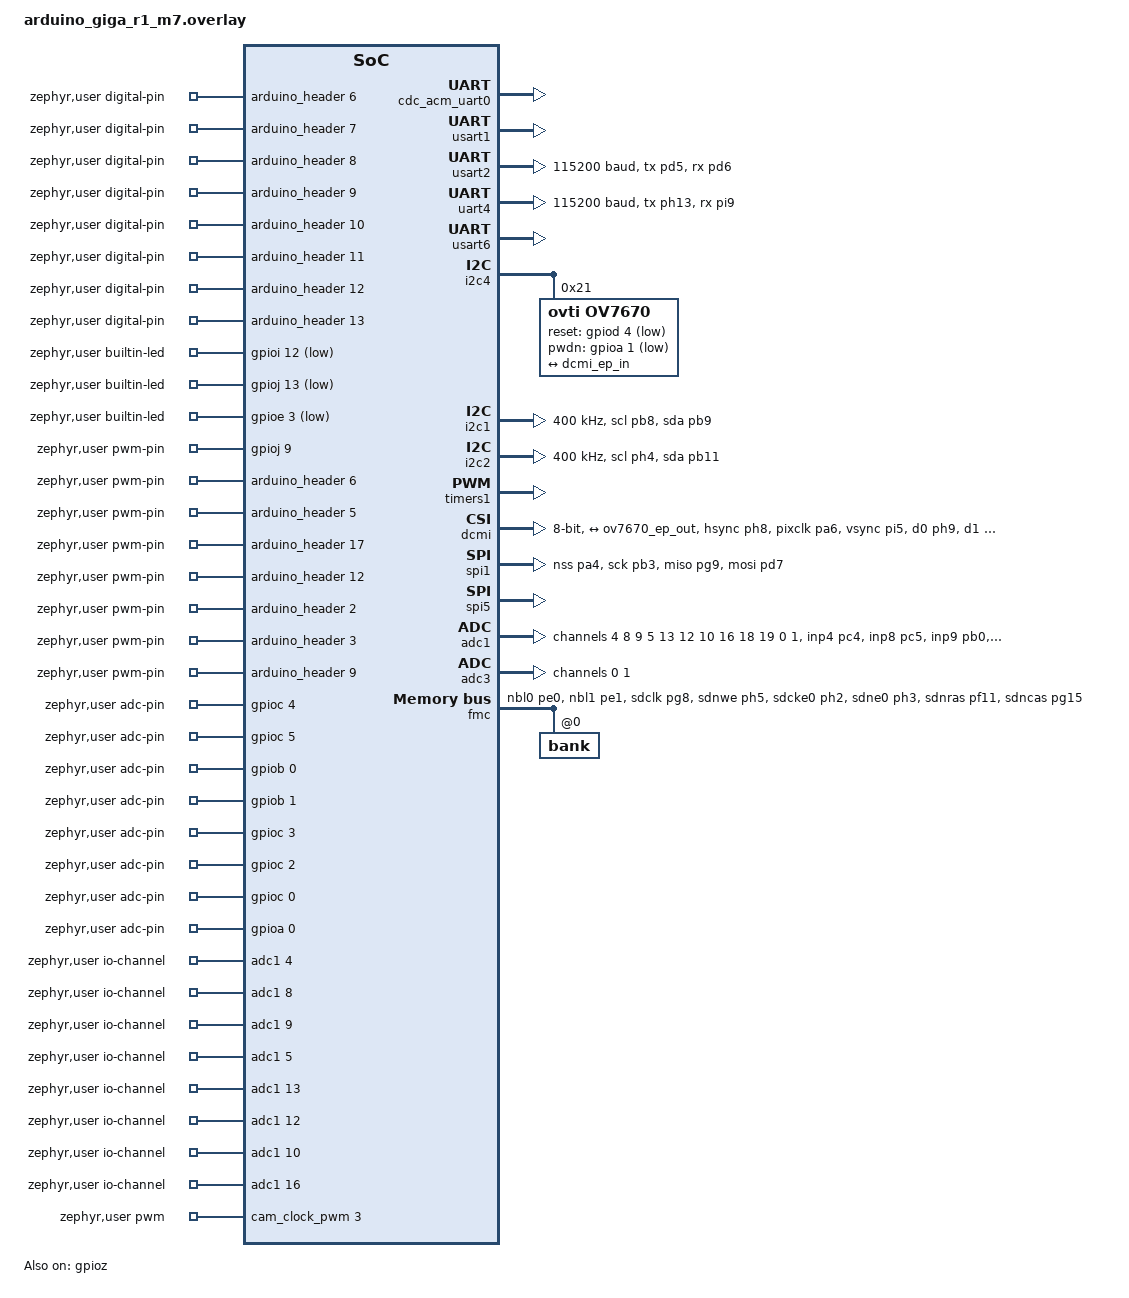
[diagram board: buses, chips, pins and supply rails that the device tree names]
&zephyr_udc0 {
	cdc_acm_uart0: cdc_acm_uart0 {
		compatible = "zephyr,cdc-acm-uart";
		status = "okay";
	};
};

&usart1 {
	status = "okay";
};

&usart2 {
	status = "okay";
	pinctrl-0 = <&usart2_tx_pd5 &usart2_rx_pd6>;
	pinctrl-names = "default";
	current-speed = <115200>;
};

&uart4 {
	status = "okay";
	pinctrl-0 = <&uart4_tx_ph13 &uart4_rx_pi9>;
	pinctrl-names = "default";
	current-speed = <115200>;
};

&usart6 {
	status = "okay";
};


&i2c4 {
	status = "okay";
	ov7670: ov7670@21 {
		compatible = "ovti,ov7670";
		reg = <0x21>;
		reset-gpios = <&gpiod 4 GPIO_ACTIVE_LOW>;
		pwdn-gpios = <&gpioa 1 GPIO_ACTIVE_LOW>;

		port {
			ov7670_ep_out: endpoint {
				remote-endpoint = <&dcmi_ep_in>;
			};
		};
	};
};

&i2c1 {
	status = "okay";
	pinctrl-0 = <&i2c1_scl_pb8 &i2c1_sda_pb9>;
	pinctrl-names = "default";
	clock-frequency = <I2C_BITRATE_FAST>;
};

&i2c2 {
	status = "okay";
	pinctrl-0 = <&i2c2_scl_ph4 &i2c2_sda_pb11>;
	pinctrl-names = "default";
	clock-frequency = <I2C_BITRATE_FAST>;
};

// XCLK as PWM from PJ9
&timers1 {
	status = "okay";
	st,prescaler = <0>;

	cam_clock_pwm: pwm {
		status = "okay";
		pinctrl-0 = <&tim1_ch3_pj9>;
		pinctrl-names = "default";
	};
};

&cam_clock_pwm {
	/* ...then use the pwmclock node to start the clock generation */
	pwmclock: pwmclock {
		status = "okay";
		compatible = "pwm-clock";
		clock-frequency = <0>;
		#clock-cells = <1>;
		pwms = <&cam_clock_pwm 3 PWM_HZ(6000000) PWM_POLARITY_NORMAL>;
	};
};

&dmamux1 {
	status = "okay";
};

&dma1 {
	status = "okay";
};

&dcmi {
	status = "okay";
	sensor = <&ov7670>;
	/* ext-sdram = <&sdram1>; */
	pinctrl-0 = <&dcmi_hsync_ph8 &dcmi_pixclk_pa6 &dcmi_vsync_pi5
				&dcmi_d0_ph9 &dcmi_d1_ph10 &dcmi_d2_ph11 &dcmi_d3_pg11
				&dcmi_d4_ph14 &dcmi_d5_pi4 &dcmi_d6_pi6 &dcmi_d7_pi7>;
	pinctrl-names = "default";
	bus-width = <8>;
	hsync-active = <0>;
	vsync-active = <0>;
	pixelclk-active = <0>;
	capture-rate = <1>;
	dmas = <&dma1 0 75 (STM32_DMA_PERIPH_TO_MEMORY | STM32_DMA_PERIPH_NO_INC |
			STM32_DMA_MEM_INC | STM32_DMA_PERIPH_8BITS | STM32_DMA_MEM_32BITS |
			STM32_DMA_PRIORITY_HIGH) STM32_DMA_FIFO_1_4>;

	port {
		dcmi_ep_in: endpoint {
			remote-endpoint = <&ov7670_ep_out>;
		};
	};
};

&spi1 {
	status = "okay";
	pinctrl-0 = <&spi1_nss_pa4 &spi1_sck_pb3
		     &spi1_miso_pg9 &spi1_mosi_pd7>;
	pinctrl-names = "default";
};

&spi5 {
	status = "okay";
};

&adc1 {
	pinctrl-0 = <&adc1_inp4_pc4
		&adc1_inp8_pc5
		&adc1_inp9_pb0
		&adc1_inp5_pb1
		&adc1_inp13_pc3
		&adc1_inp12_pc2
		&adc1_inp10_pc0
		&adc1_inp16_pa0
		&adc1_inp18_pa4
		&adc1_inp19_pa5
		&adc1_inp0_pa0_c
		&adc1_inp1_pa1_c>;
	pinctrl-names = "default";
	st,adc-clock-source = <SYNC>;
	st,adc-prescaler = <4>;
	status = "okay";

	#address-cells = <1>;
	#size-cells = <0>;

	channel@4 {
		reg = <4>;
		zephyr,gain = "ADC_GAIN_1";
		zephyr,reference = "ADC_REF_INTERNAL";
		zephyr,acquisition-time = <ADC_ACQ_TIME_MAX>;
		zephyr,resolution = <12>;
	};
	channel@8 {
		reg = <8>;
		zephyr,gain = "ADC_GAIN_1";
		zephyr,reference = "ADC_REF_INTERNAL";
		zephyr,acquisition-time = <ADC_ACQ_TIME_MAX>;
		zephyr,resolution = <12>;
	};
	channel@9 {
		reg = <9>;
		zephyr,gain = "ADC_GAIN_1";
		zephyr,reference = "ADC_REF_INTERNAL";
		zephyr,acquisition-time = <ADC_ACQ_TIME_MAX>;
		zephyr,resolution = <12>;
	};
	channel@5 {
		reg = <5>;
		zephyr,gain = "ADC_GAIN_1";
		zephyr,reference = "ADC_REF_INTERNAL";
		zephyr,acquisition-time = <ADC_ACQ_TIME_MAX>;
		zephyr,resolution = <12>;
	};
	channel@d {
		reg = <13>;
		zephyr,gain = "ADC_GAIN_1";
		zephyr,reference = "ADC_REF_INTERNAL";
		zephyr,acquisition-time = <ADC_ACQ_TIME_MAX>;
		zephyr,resolution = <12>;
	};
	channel@c {
		reg = <12>;
		zephyr,gain = "ADC_GAIN_1";
		zephyr,reference = "ADC_REF_INTERNAL";
		zephyr,acquisition-time = <ADC_ACQ_TIME_MAX>;
		zephyr,resolution = <12>;
	};
	channel@a {
		reg = <10>;
		zephyr,gain = "ADC_GAIN_1";
		zephyr,reference = "ADC_REF_INTERNAL";
		zephyr,acquisition-time = <ADC_ACQ_TIME_MAX>;
		zephyr,resolution = <12>;
	};
	channel@10 {
		reg = <16>;
		zephyr,gain = "ADC_GAIN_1";
		zephyr,reference = "ADC_REF_INTERNAL";
		zephyr,acquisition-time = <ADC_ACQ_TIME_MAX>;
		zephyr,resolution = <12>;
	};
	channel@12 {
		reg = <18>;
		zephyr,gain = "ADC_GAIN_1";
		zephyr,reference = "ADC_REF_INTERNAL";
		zephyr,acquisition-time = <ADC_ACQ_TIME_MAX>;
		zephyr,resolution = <12>;
	};
	channel@13 {
		reg = <19>;
		zephyr,gain = "ADC_GAIN_1";
		zephyr,reference = "ADC_REF_INTERNAL";
		zephyr,acquisition-time = <ADC_ACQ_TIME_MAX>;
		zephyr,resolution = <12>;
	};
	/* PA0_C and PA1_C */
	channel@0 {
		reg = <0>;
		zephyr,gain = "ADC_GAIN_1";
		zephyr,reference = "ADC_REF_INTERNAL";
		zephyr,acquisition-time = <ADC_ACQ_TIME_MAX>;
		zephyr,resolution = <12>;
	};
	channel@1 {
		reg = <1>;
		zephyr,gain = "ADC_GAIN_1";
		zephyr,reference = "ADC_REF_INTERNAL";
		zephyr,acquisition-time = <ADC_ACQ_TIME_MAX>;
		zephyr,resolution = <12>;
	};
};

&adc3 {
	pinctrl-0 = <&adc3_inp0_pc2_c
		&adc3_inp1_pc3_c>;
	pinctrl-names = "default";
	st,adc-clock-source = <SYNC>;
	st,adc-prescaler = <4>;
	status = "okay";

	#address-cells = <1>;
	#size-cells = <0>;

	channel@0 {
		reg = <0>;
		zephyr,gain = "ADC_GAIN_1";
		zephyr,reference = "ADC_REF_INTERNAL";
		zephyr,acquisition-time = <ADC_ACQ_TIME_MAX>;
		zephyr,resolution = <12>;
	};
	channel@1 {
		reg = <1>;
		zephyr,gain = "ADC_GAIN_1";
		zephyr,reference = "ADC_REF_INTERNAL";
		zephyr,acquisition-time = <ADC_ACQ_TIME_MAX>;
		zephyr,resolution = <12>;
	};
};


&fmc {
	status = "okay";
	pinctrl-0 = <&fmc_nbl0_pe0 &fmc_nbl1_pe1
		     &fmc_sdclk_pg8 &fmc_sdnwe_ph5 &fmc_sdcke0_ph2
		     &fmc_sdne0_ph3 &fmc_sdnras_pf11 &fmc_sdncas_pg15

		     &fmc_a0_pf0 &fmc_a1_pf1 &fmc_a2_pf2 &fmc_a3_pf3 &fmc_a4_pf4
		     &fmc_a5_pf5 &fmc_a6_pf12 &fmc_a7_pf13 &fmc_a8_pf14
		     &fmc_a9_pf15 &fmc_a10_pg0 &fmc_a11_pg1 &fmc_a12_pg2
		     &fmc_a14_pg4 &fmc_a15_pg5

		     &fmc_d0_pd14 &fmc_d1_pd15 &fmc_d2_pd0 &fmc_d3_pd1
		     &fmc_d4_pe7 &fmc_d5_pe8 &fmc_d6_pe9 &fmc_d7_pe10
		     &fmc_d8_pe11 &fmc_d9_pe12 &fmc_d10_pe13 &fmc_d11_pe14
		     &fmc_d12_pe15 &fmc_d13_pd8 &fmc_d14_pd9 &fmc_d15_pd10>;
	pinctrl-names = "default";

	sdram {
		status = "okay";

		power-up-delay = <100>;
		num-auto-refresh = <8>;
		mode-register = <0x220>;
		refresh-rate = <603>;

		bank@0 {
			reg = <0>;
			st,sdram-control = <STM32_FMC_SDRAM_NC_8
					    STM32_FMC_SDRAM_NR_12
					    STM32_FMC_SDRAM_MWID_16
					    STM32_FMC_SDRAM_NB_4
					    STM32_FMC_SDRAM_CAS_2
					    STM32_FMC_SDRAM_SDCLK_PERIOD_2
					    STM32_FMC_SDRAM_RBURST_ENABLE
					    STM32_FMC_SDRAM_RPIPE_0>;
			st,sdram-timing = <2 6 4 6 2 2 2>;
		};
	};
};

/{
	chosen {
		zephyr,camera = &dcmi;
	};

	/* used to overcome problems with _C analog pins */
	gpioz: gpio@deadbeef {
		compatible = "vnd,gpio";
		gpio-controller;
		reg = <0xdeadbeef 0x1000>;
		#gpio-cells = <0x2>;
		status = "okay";
	};
};

/ {
	soc {
		flash-controller@52002000 {
			flash0: flash@8000000 {
				compatible = "st,stm32-nv-flash", "soc-nv-flash";
				write-block-size = <32>;
				erase-block-size = <DT_SIZE_K(128)>;
				/* maximum erase time for a 128K sector */
				max-erase-time = <4000>;

				reg = <0x08000000 DT_SIZE_K(1024)>;
				status = "okay";

				partitions {
					compatible = "fixed-partitions";
					#address-cells = <1>;
					#size-cells = <1>;

					user_sketch: partition@e0000 {
						reg = <0x0E0000 0x20000>;
					};
				};
			};
		};
	};
};

/ {
	zephyr,user {
		digital-pin-gpios = <&arduino_header 6 0>,
						<&arduino_header 7 0>,
						<&arduino_header 8 0>,
						<&arduino_header 9 0>,
						<&arduino_header 10 0>,
						<&arduino_header 11 0>,
						<&arduino_header 12 0>,
						<&arduino_header 13 0>,
						<&arduino_header 14 0>,
						<&arduino_header 15 0>,
						<&arduino_header 16 0>,
						<&arduino_header 17 0>,
						<&arduino_header 18 0>,
						<&arduino_header 19 0>,
						<&gpiog 14 0>,				/* TX1 - 14 */
						<&gpioc 7 0>,
						<&gpioh 13 0>,
						<&gpioi 9 0>,
						<&gpiod 5 0>,
						<&gpiod 6 0>,
						<&gpiob 11 0>,
						<&gpioh 4 0>,

						<&gpioj 12 0>,				/* Big header - 22 */
						<&gpiog 13 0>,
						<&gpiog 12 0>,
						<&gpioj 0 0>,
						<&gpioj 14 0>,
						<&gpioj 1 0>,
						<&gpioj 15 0>,
						<&gpioj 2 0>,
						<&gpiok 3 0>,
						<&gpioj 3 0>,
						<&gpiok 4 0>,
						<&gpioj 4 0>,
						<&gpiok 5 0>,
						<&gpioj 5 0>,
						<&gpiok 6 0>,
						<&gpioj 6 0>,
						<&gpioj 7 0>,
						<&gpioi 14 0>,
						<&gpioe 6 0>,
						<&gpiok 7 0>,
						<&gpioi 15 0>,
						<&gpioi 10 0>,
						<&gpiog 10 0>,
						<&gpioi 13 0>,
						<&gpioh 15 0>,
						<&gpiob 2 0>,
						<&gpiok 0 0>,
						<&gpioe 4 0>,
						<&gpioi 11 0>,
						<&gpioe 5 0>,
						<&gpiok 2 0>,
						<&gpiog 7 0>,

						<&gpioi 5 0>,		/* CAM header - 54 */
						<&gpioh 8 0>,
						<&gpioa 6 0>,
						<&gpioj 9 0>,
						<&gpioi 7 0>,
						<&gpioi 6 0>,
						<&gpioi 4 0>,
						<&gpioh 14 0>,
						<&gpiog 11 0>,
						<&gpioh 11 0>,
						<&gpioh 10 0>,
						<&gpioh 9 0>,
						<&gpioa 1 0>,
						<&gpiod 4 0>,

						<&gpioc 6 0>,		/* DSI header - 68 */
						<&gpioi 0 0>,
						<&gpioi 1 0>,
						<&gpioi 2 0>,
						<&gpioi 3 0>,
						<&gpioc 1 0>,
						<&gpiob 12 0>,
						<&gpiod 3 0>,

						<&gpiob 6 0>,		/* SDA1 */
						<&gpioh 12 0>,

						<&gpioc 4 0>,
						<&gpioc 5 0>,
						<&gpiob 0 0>,
						<&gpiob 1 0>,
						<&gpioc 3 0>,
						<&gpioc 2 0>,
						<&gpioc 0 0>,			/* A6 */
						<&gpioa 0 0>,
						<&gpioz 0 0>,			/* analog only */
						<&gpioz 1 0>,			/* analog only */
						<&gpioz 2 0>,			/* analog only */
						<&gpioz 3 0>,			/* analog only */
						<&gpioa 4 0>,
						<&gpioa 5 0>,
						<&gpiob 5 0>,			/* CAN RX */
						<&gpiob 13 0>,			/* CAN TX */

						<&gpioi 12 GPIO_ACTIVE_LOW>,
						<&gpioj 13 GPIO_ACTIVE_LOW>,
						<&gpioe 3 GPIO_ACTIVE_LOW>;

		builtin-led-gpios = <&gpioi 12 GPIO_ACTIVE_LOW>,
                        <&gpioj 13 GPIO_ACTIVE_LOW>,
                        <&gpioe 3 GPIO_ACTIVE_LOW>;

		pwm-pin-gpios =	    <&gpioj 9 0>,
					<&arduino_header 6 0>,
				    <&arduino_header 5 0>,
				    <&arduino_header 17 0>,
				    <&arduino_header 12 0>,
				    <&arduino_header 2 0>,
				    <&arduino_header 3 0>,
				    <&arduino_header 9 0>,
				    <&arduino_header 10 0>;

		adc-pin-gpios =	<&gpioc 4 0>,
					<&gpioc 5 0>,
					<&gpiob 0 0>,
					<&gpiob 1 0>,
					<&gpioc 3 0>,
					<&gpioc 2 0>,
					<&gpioc 0 0>,			/* A6 */
					<&gpioa 0 0>,
					<&gpioz 0 0>,			/* analog only */
					<&gpioz 1 0>,			/* analog only */
					<&gpioz 2 0>,			/* analog only */
					<&gpioz 3 0>,			/* analog only */
					<&gpioa 4 0>,
					<&gpioa 5 0>;

		serials = <&cdc_acm_uart0>, <&usart1>, <&usart2>, <&uart4>, <&usart6>;
		cdc-acm = <&cdc_acm_uart0>;
		i2cs = <&i2c2>, <&i2c4>, <&i2c1>;
		spis = <&spi1>, <&spi5>;
		pwms = <&cam_clock_pwm 3 PWM_HZ(6000000) PWM_POLARITY_NORMAL>;

		io-channels =	<&adc1 4>,
				<&adc1 8>,
				<&adc1 9>,
				<&adc1 5>,
				<&adc1 13>,
				<&adc1 12>,
				<&adc1 10>,
				<&adc1 16>,
				<&adc3 0>,
				<&adc3 1>,
				<&adc1 1>,
				<&adc1 0>,
				<&adc1 18>,
				<&adc1 19>;
	};
};
